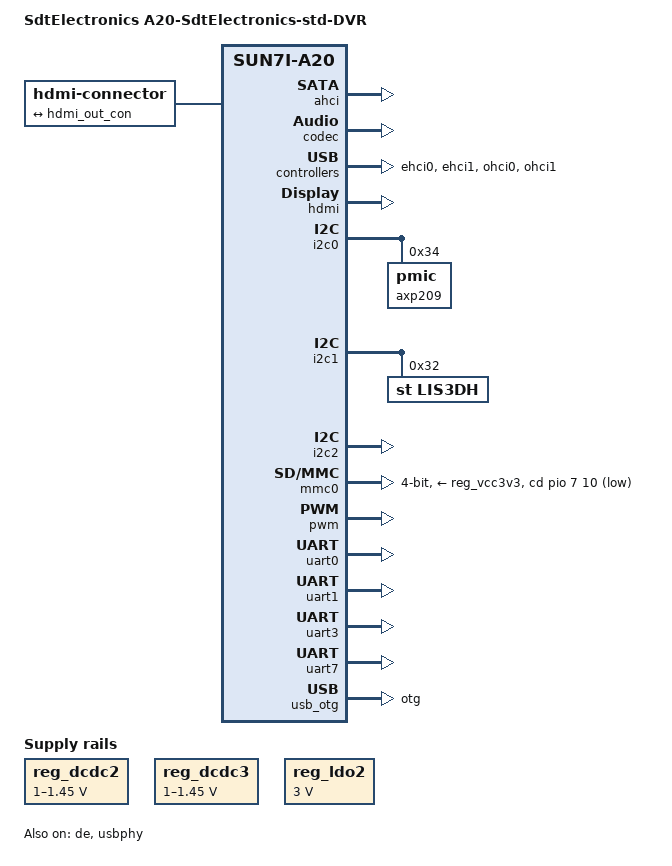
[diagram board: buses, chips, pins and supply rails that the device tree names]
/*
 * Copyright 2020 SdtElectronics
 *
 * SdtElectronics <null@std.uestc.edu.cn>
 *
 * This file is dual-licensed: you can use it either under the terms
 * of the GPL or the X11 license, at your option. Note that this dual
 * licensing only applies to this file, and not this project as a
 * whole.
 *
 *  a) This file is free software; you can redistribute it and/or
 *     modify it under the terms of the GNU General Public License as
 *     published by the Free Software Foundation; either version 2 of the
 *     License, or (at your option) any later version.
 *
 *     This file is distributed in the hope that it will be useful,
 *     but WITHOUT ANY WARRANTY; without even the implied warranty of
 *     MERCHANTABILITY or FITNESS FOR A PARTICULAR PURPOSE.  See the
 *     GNU General Public License for more details.
 *
 * Or, alternatively,
 *
 *  b) Permission is hereby granted, free of charge, to any person
 *     obtaining a copy of this software and associated documentation
 *     files (the "Software"), to deal in the Software without
 *     restriction, including without limitation the rights to use,
 *     copy, modify, merge, publish, distribute, sublicense, and/or
 *     sell copies of the Software, and to permit persons to whom the
 *     Software is furnished to do so, subject to the following
 *     conditions:
 *
 *     The above copyright notice and this permission notice shall be
 *     included in all copies or substantial portions of the Software.
 *
 *     THE SOFTWARE IS PROVIDED "AS IS", WITHOUT WARRANTY OF ANY KIND,
 *     EXPRESS OR IMPLIED, INCLUDING BUT NOT LIMITED TO THE WARRANTIES
 *     OF MERCHANTABILITY, FITNESS FOR A PARTICULAR PURPOSE AND
 *     NONINFRINGEMENT. IN NO EVENT SHALL THE AUTHORS OR COPYRIGHT
 *     HOLDERS BE LIABLE FOR ANY CLAIM, DAMAGES OR OTHER LIABILITY,
 *     WHETHER IN AN ACTION OF CONTRACT, TORT OR OTHERWISE, ARISING
 *     FROM, OUT OF OR IN CONNECTION WITH THE SOFTWARE OR THE USE OR
 *     OTHER DEALINGS IN THE SOFTWARE.
 */

/dts-v1/;
#include "sun7i-a20.dtsi"
#include "sunxi-common-regulators.dtsi"

#include <dt-bindings/gpio/gpio.h>
#include <dt-bindings/input/input.h>
#include <dt-bindings/interrupt-controller/irq.h>
#include <dt-bindings/pwm/pwm.h>

/ {
	model = "SdtElectronics A20-SdtElectronics-std-DVR";
	compatible = "sdtelectronics,a20-sdtelectronics-std-dvr", "allwinner,sun7i-a20";

	aliases {
		serial0 = &uart0;
        serial7 = &uart7;
	};

	chosen {
		stdout-path = "serial0:115200n8";
	};

    cpus {
		#address-cells = <1>;
		#size-cells = <0>;

		cpu0: cpu@0 {
			compatible = "arm,cortex-a7";
			device_type = "cpu";
			reg = <0>;
			clocks = <&ccu CLK_CPU>;
			clock-latency = <244144>; /* 8 32k periods */
			operating-points = <
                /* kHz	  uV */
                1008000	1450000
                960000	1400000
                912000	1400000
                864000	1350000
                720000	1250000
                528000	1150000
                312000	1100000
                144000	1050000
                >;
			#cooling-cells = <2>;
		};

		cpu1: cpu@1 {
			compatible = "arm,cortex-a7";
			device_type = "cpu";
			reg = <1>;
			clocks = <&ccu CLK_CPU>;
			clock-latency = <244144>; /* 8 32k periods */
			operating-points = <
                /* kHz	  uV */
                1008000	1450000
                960000	1400000
                912000	1400000
                864000	1350000
                720000	1250000
                528000	1150000
                312000	1100000
                144000	1050000
                >;
			#cooling-cells = <2>;
		};
	};
    
    hdmi-connector {
		compatible = "hdmi-connector";
		type = "a";

		port {
			hdmi_con_in: endpoint {
				remote-endpoint = <&hdmi_out_con>;
			};
		};
	};
};

&ahci {
	target-supply = <&reg_ahci_5v>;
	status = "okay";
};

&de {
	status = "okay";
};

&codec {
	status = "okay";
};

&ehci0 {
	status = "okay";
};

&ehci1 {
	status = "okay";
};

&hdmi {
	status = "okay";
};

&hdmi_out {
	hdmi_out_con: endpoint {
		remote-endpoint = <&hdmi_con_in>;
	};
};

&i2c0 {
    /*
	pinctrl-names = "default";
	pinctrl-0 = <&i2c0_pins>;
    */
	status = "okay";

	axp209: pmic@34 {
		reg = <0x34>;
		interrupt-parent = <&nmi_intc>;
		interrupts = <0 IRQ_TYPE_LEVEL_LOW>;
	};
};

&i2c1 {
    /*
	pinctrl-names = "default";
	pinctrl-0 = <&i2c1_pins>;
    */
	status = "okay";

	lis3dh@32 {
		compatible = "st,lis3dh";
		reg = <0x32>;
		label = "LIS3DH";
	};

};

&i2c2 {
	status = "okay";
};

&mmc0 {
    /*
	pinctrl-names = "default";
	pinctrl-0 = <&mmc0_pins>, <&mmc0_cd_pin_std_dvr>;
    */
	vmmc-supply = <&reg_vcc3v3>;
	bus-width = <4>;
	cd-gpios = <&pio 7 10 GPIO_ACTIVE_HIGH>; /* PH10 */
	cd-inverted;
	status = "okay";
};

&ohci0 {
	status = "okay";
};

&ohci1 {
	status = "okay";
};

&otg_sram {
	status = "okay";
};

&pio {
	usb0_id_detect_pin: usb0_id_detect_pin@0 {
		allwinner,pins = "PH4";
		allwinner,function = "gpio_in";
		allwinner,drive = <SUN4I_PINCTRL_10_MA>;
		allwinner,pull = <SUN4I_PINCTRL_PULL_UP>;
	};

    mmc0_cd_pin_std_dvr: mmc0_cd_pin@0 {
		allwinner,pins = "PH4";
		allwinner,function = "gpio_in";
		allwinner,drive = <SUN4I_PINCTRL_10_MA>;
		allwinner,pull = <SUN4I_PINCTRL_PULL_UP>;
	};
};

&pwm {
      pinctrl-names = "default";
      pinctrl-0 = <&pwm0_pin>, <&pwm1_pin>;
      status = "okay";
};

&reg_ahci_5v {
	status = "okay";
};

#include "axp209.dtsi"

&battery_power_supply {
	status = "okay";
};

&reg_dcdc2 {
	regulator-always-on;
	regulator-min-microvolt = <1000000>;
	regulator-max-microvolt = <1450000>;
	regulator-name = "vdd-cpu";
};

&reg_dcdc3 {
	regulator-always-on;
	regulator-min-microvolt = <1000000>;
	regulator-max-microvolt = <1450000>;
	regulator-name = "vdd-int-dll";
};

&reg_ldo1 {
	regulator-name = "vdd-rtc";
};

&reg_ldo2 {
	regulator-always-on;
	regulator-min-microvolt = <3000000>;
	regulator-max-microvolt = <3000000>;
	regulator-name = "avcc";
};

&reg_usb0_vbus {
	status = "okay";
};

&reg_usb1_vbus {
	status = "okay";
};

&reg_usb2_vbus {
	status = "okay";
};

&uart0 {
	pinctrl-names = "default";
	pinctrl-0 = <&uart0_pb_pins>;
	status = "okay";
};

&uart1 {
	pinctrl-names = "default";
	pinctrl-0 = <&uart1_pa_pins>;
	status = "okay";
};

&uart3 {
	pinctrl-names = "default";
	pinctrl-0 = <&uart3_ph_pins>;
	status = "okay";
};

&uart7 {
	pinctrl-names = "default";
	pinctrl-0 = <&uart7_pa_pins>;
	status = "okay";
};

&usb_otg {
	dr_mode = "otg";
	status = "okay";
};

&usbphy {
	usb0_id_det-gpios = <&pio 7 4 GPIO_ACTIVE_HIGH>; /* PH04 */
    usb0_vbus_power-supply = <&usb_power_supply>;
	usb0_vbus-supply = <&reg_usb0_vbus>;
	usb1_vbus-supply = <&reg_usb1_vbus>;
	usb2_vbus-supply = <&reg_usb2_vbus>;
	status = "okay";
};
